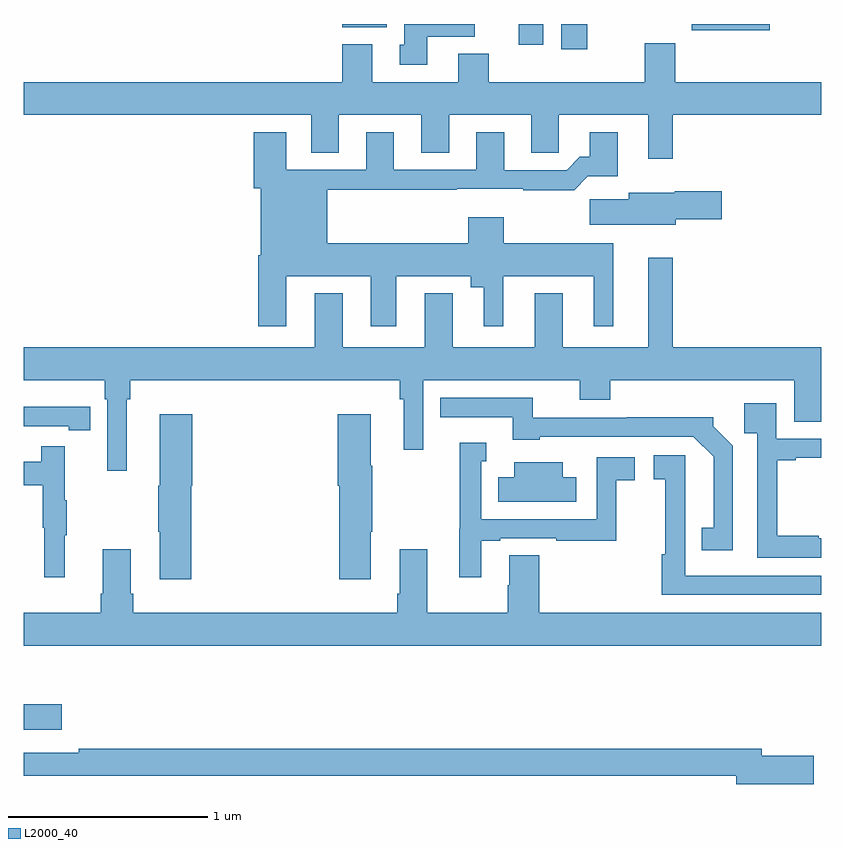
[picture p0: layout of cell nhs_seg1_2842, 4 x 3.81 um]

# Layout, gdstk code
import gdstk
lib = gdstk.Library(unit=1e-6, precision=1e-09)
def R(c, l, rs):  # rectangles x0, y0, x1, y1
    for r in rs: c.add(gdstk.rectangle(r[:2], r[2:], *l))
def P(c, l, *ps):  # polygons
    for p in ps: c.add(gdstk.Polygon(p, *l))
L2000_40 = (2000, 40)

nhs_seg1_2842 = lib.new_cell('nhs_seg1_2842')
R(nhs_seg1_2842, L2000_40, [(265,536.657,265.189,536.787), (267.695,540.072,267.826,540.199), (267.482,540.096,267.607,540.199), (268.352,540.167,268.741,540.199), (266.598,540.182,266.821,540.199)])
P(nhs_seg1_2842, L2000_40, [(267.025,540.134),(267.261,540.134),(267.261,540.199),(266.909,540.199),(266.909,540.096),(266.885,540.096),(266.885,539.994),(267.025,539.994)],
  [(268.255,539.744),(269,539.744),(269,539.908),(268.268,539.908),(268.268,540.103),(268.115,540.103),(268.115,539.908),(267.332,539.908),(267.332,540.049),(267.179,540.049),(267.179,539.908),(266.749,539.908),(266.749,540.097),(266.597,540.097),(266.597,539.908),(265,539.908),(265,539.744),(266.441,539.744),(266.441,539.554),(266.581,539.554),(266.581,539.744),(266.993,539.744),(266.993,539.554),(267.133,539.554),(267.133,539.744),(267.545,539.744),(267.545,539.554),(267.684,539.554),(267.684,539.744),(268.133,539.744),(268.133,539.523),(268.255,539.523)],
  [(266.317,538.934),(266.741,538.934),(266.741,538.683),(266.869,538.683),(266.869,538.934),(267.242,538.934),(267.242,538.877),(267.308,538.877),(267.308,538.683),(267.406,538.683),(267.406,538.934),(267.86,538.934),(267.86,538.683),(267.958,538.683),(267.958,539.098),(267.408,539.098),(267.408,539.23),(267.23,539.23),(267.23,539.098),(266.521,539.098),(266.521,539.368),(267.173,539.368),(267.173,539.372),(267.505,539.372),(267.505,539.366),(267.761,539.366),(267.83,539.435),(267.979,539.435),(267.979,539.656),(267.839,539.656),(267.839,539.533),(267.79,539.533),(267.723,539.466),(267.409,539.466),(267.409,539.656),(267.269,539.656),(267.269,539.469),(266.857,539.469),(266.857,539.656),(266.717,539.656),(266.717,539.469),(266.317,539.469),(266.317,539.656),(266.153,539.656),(266.153,539.376),(266.189,539.376),(266.189,539.038),(266.177,539.038),(266.177,538.683),(266.317,538.683)],
  [(268.27,539.219),(268.501,539.219),(268.501,539.361),(268.266,539.361),(268.266,539.353),(268.034,539.353),(268.034,539.321),(267.84,539.321),(267.84,539.192),(268.27,539.192)],
  [(265.516,538.316),(265.535,538.316),(265.535,538.412),(266.887,538.412),(266.887,538.316),(266.906,538.316),(266.906,538.062),(267.003,538.062),(267.003,538.412),(267.788,538.412),(267.788,538.313),(267.941,538.313),(267.941,538.412),(268.865,538.412),(268.865,538.204),(269,538.204),(269,538.576),(268.255,538.576),(268.255,539.026),(268.133,539.026),(268.133,538.576),(267.703,538.576),(267.703,538.849),(267.563,538.849),(267.563,538.576),(267.151,538.576),(267.151,538.849),(267.011,538.849),(267.011,538.576),(266.599,538.576),(266.599,538.849),(266.459,538.849),(266.459,538.576),(265,538.576),(265,538.412),(265.406,538.412),(265.406,538.316),(265.419,538.316),(265.419,537.957),(265.516,537.957)],
  [(268.557,538.082),(268.458,538.181),(268.458,538.226),(268.024,538.226),(268.024,538.224),(267.552,538.224),(267.552,538.323),(267.088,538.323),(267.088,538.227),(267.452,538.227),(267.452,538.112),(267.588,538.112),(267.588,538.128),(268.359,538.128),(268.46,538.027),(268.46,537.671),(268.402,537.671),(268.402,537.558),(268.557,537.558)],
  [(269,537.619),(268.988,537.619),(268.988,537.631),(268.781,537.631),(268.781,538.011),(268.873,538.011),(268.873,538.023),(269,538.023),(269,538.119),(268.776,538.119),(268.776,538.297),(268.615,538.297),(268.615,538.145),(268.68,538.145),(268.68,537.522),(269,537.522)],
  [(265.334,538.278),(265.226,538.278),(265.226,538.279),(265,538.279),(265,538.182),(265.226,538.182),(265.226,538.162),(265.334,538.162)],
  [(266.74,537.652),(266.748,537.652),(266.748,537.982),(266.74,537.982),(266.74,538.24),(266.576,538.24),(266.576,537.882),(266.582,537.882),(266.582,537.414),(266.74,537.414)],
  [(265.841,537.882),(265.846,537.882),(265.846,538.24),(265.682,538.24),(265.682,537.882),(265.675,537.882),(265.675,537.652),(265.682,537.652),(265.682,537.414),(265.841,537.414)],
  [(267.295,537.606),(267.391,537.606),(267.391,537.618),(267.67,537.618),(267.67,537.606),(267.972,537.606),(267.972,537.91),(268.066,537.91),(268.066,538.026),(267.873,538.026),(267.873,537.714),(267.294,537.714),(267.294,538.005),(267.319,538.005),(267.319,538.099),(267.186,538.099),(267.186,537.667),(267.185,537.667),(267.185,537.423),(267.295,537.423)],
  [(265.205,537.635),(265.216,537.635),(265.216,537.809),(265.205,537.809),(265.205,538.081),(265.087,538.081),(265.087,538.002),(265,538.002),(265,537.886),(265.095,537.886),(265.095,537.672),(265.102,537.672),(265.102,537.423),(265.205,537.423)],
  [(269,537.432),(268.317,537.432),(268.317,537.76),(268.318,537.76),(268.318,538.036),(268.161,538.036),(268.161,537.915),(268.219,537.915),(268.219,537.539),(268.201,537.539),(268.201,537.336),(269,537.336)],
  [(267.772,537.925),(267.703,537.925),(267.703,538),(267.461,538),(267.461,537.925),(267.379,537.925),(267.379,537.803),(267.772,537.803)],
  [(269,537.244),(267.587,537.244),(267.587,537.533),(267.434,537.533),(267.434,537.383),(267.427,537.383),(267.427,537.244),(267.025,537.244),(267.025,537.565),(266.885,537.565),(266.885,537.34),(266.873,537.34),(266.873,537.244),(265.55,537.244),(265.55,537.34),(265.537,537.34),(265.537,537.565),(265.397,537.565),(265.397,537.34),(265.385,537.34),(265.385,537.244),(265,537.244),(265,537.08),(269,537.08)],
  [(268.963,536.528),(268.702,536.528),(268.702,536.564),(265.276,536.564),(265.276,536.544),(265,536.544),(265,536.428),(268.574,536.428),(268.574,536.386),(268.963,536.386)])

lib.write_gds('nhs_seg1_2842.gds')
